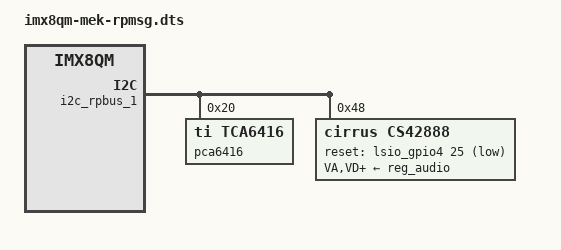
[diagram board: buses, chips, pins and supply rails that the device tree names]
// SPDX-License-Identifier: GPL-2.0+
// Copyright NXP 2019

#include "imx8qm-mek.dts"

/delete-node/ &cm41_i2c;

&i2c_rpbus_1 {
	#address-cells = <1>;
	#size-cells = <0>;
	status = "okay";

	pca6416: gpio@20 {
		compatible = "ti,tca6416";
		reg = <0x20>;
		gpio-controller;
		#gpio-cells = <2>;
	};

	cs42888: cs42888@48 {
		compatible = "cirrus,cs42888";
		reg = <0x48>;
		clocks = <&mclkout0_lpcg 0>;
		clock-names = "mclk";
		VA-supply = <&reg_audio>;
		VD-supply = <&reg_audio>;
		VLS-supply = <&reg_audio>;
		VLC-supply = <&reg_audio>;
		reset-gpio = <&lsio_gpio4 25 GPIO_ACTIVE_LOW>;
		assigned-clocks = <&clk IMX_SC_R_AUDIO_PLL_0 IMX_SC_PM_CLK_PLL>,
				<&clk IMX_SC_R_AUDIO_PLL_0 IMX_SC_PM_CLK_SLV_BUS>,
				<&clk IMX_SC_R_AUDIO_PLL_0 IMX_SC_PM_CLK_MST_BUS>,
				<&mclkout0_lpcg 0>;
		assigned-clock-rates = <786432000>, <49152000>, <12288000>, <12288000>;
		fsl,txs-rxm;
		status = "okay";
	};
};

&cm41_i2c_lpcg {
	status = "disabled";
};

&reg_can01_en {
	status = "disabled";
};

&reg_can2_en {
	status = "disabled";
};

&reg_can01_stby {
	status = "disabled";
};

&reg_can2_stby {
	status = "disabled";
};

&cm41_intmux {
	status = "disabled";
};

&can0_lpcg {
	status = "disabled";
};

&can1_lpcg {
	status = "disabled";
};

&can2_lpcg {
	status = "disabled";
};

&flexcan1 {
	status = "disabled";
};

&flexcan2 {
	status = "disabled";
};

&flexcan3 {
	status = "disabled";
};

&flexspi0 {
	status = "disabled";
};

&lpuart2 {
	status = "disabled";
};

&uart2_lpcg {
	status = "disabled";
};

&imx8qm_cm40 {
	/* Assume you have partitioned M4, so M4 is ont controled by Linux */
	/delete-property/ power-domains;
};

&imx8qm_cm41 {
	/* Assume you have partitioned M4, so M4 is ont controled by Linux */
	/delete-property/ power-domains;
};
